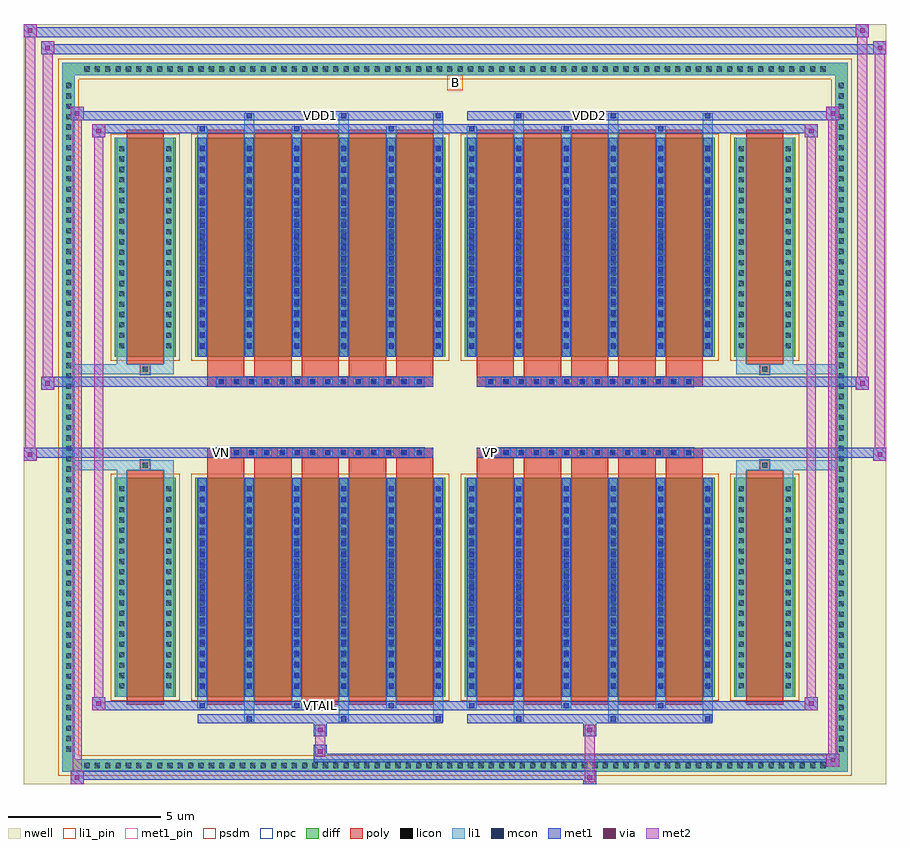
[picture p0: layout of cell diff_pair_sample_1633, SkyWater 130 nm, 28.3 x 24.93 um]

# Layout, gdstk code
import gdstk
lib = gdstk.Library(unit=1e-6, precision=5e-09)
def R(c, l, rs):  # rectangles x0, y0, x1, y1
    for r in rs: c.add(gdstk.rectangle(r[:2], r[2:], *l))
def A(c, l, x, y, w, h, nx, ny, dx, dy):  # array of equal rectangles
    R(c, l, [(x+i*dx, y+j*dy, x+i*dx+w, y+j*dy+h) for i in range(nx) for j in range(ny)])
def P(c, l, *ps):  # polygons
    for p in ps: c.add(gdstk.Polygon(p, *l))
nwell = (64, 20)
diff = (65, 20)
poly = (66, 20)
licon = (66, 44)
li1_pin = (67, 16)
li1 = (67, 20)
mcon = (67, 44)
met1_pin = (68, 16)
met1 = (68, 20)
via = (68, 44)
met2 = (69, 20)
psdm = (94, 20)
npc = (95, 20)

diff_pair_sample_1633 = lib.new_cell('diff_pair_sample_1633')
R(diff_pair_sample_1633, nwell, [(-14.15,-12.03,14.15,12.9), (-11.47,-10.22,-0.01,-0.8), (0.01,-10.22,11.47,-0.8), (-11.47,0.8,-0.01,10.22), (0.01,0.8,11.47,10.22)])
A(diff_pair_sample_1633, diff, -12.275, -11.63, 0.41, 0.41, 72, 2, 0.34, 22.85)
A(diff_pair_sample_1633, diff, -12.88, -11.085, 0.41, 0.41, 1, 65, 0, 0.34)
A(diff_pair_sample_1633, diff, 12.47, -11.085, 0.41, 0.41, 1, 65, 0, 0.34)
R(diff_pair_sample_1633, diff, [(-12.275,-11.63,12.275,-11.22), (-12.88,-11.085,-12.47,11.085), (12.47,-11.085,12.88,11.085), (-11.16,-9.175,-9.16,-1.985), (-8.52,-9.175,-0.32,-1.985), (0.32,-9.175,8.52,-1.985), (9.16,-9.175,11.16,-1.985), (-11.16,1.985,-9.16,9.175), (-8.52,1.985,-0.32,9.175), (0.32,1.985,8.52,9.175), (9.16,1.985,11.16,9.175), (-12.275,11.22,12.275,11.63)])
P(diff_pair_sample_1633, diff, [(12.88,11.63),(-12.88,11.63),(-12.88,-11.22),(-12.47,-11.22),(-12.47,11.22),(12.47,11.22),(12.47,-11.22),(-12.47,-11.22),(-12.88,-11.22),(-12.88,-11.63),(12.88,-11.63)])
A(diff_pair_sample_1633, poly, -8.13, -9.425, 1.22, 7.69, 5, 2, 1.55, 11.16)
A(diff_pair_sample_1633, poly, 0.71, -9.425, 1.22, 7.69, 5, 2, 1.55, 11.16)
A(diff_pair_sample_1633, poly, -8.13, -1.735, 1.22, 0.405, 5, 2, 1.55, 3.065)
A(diff_pair_sample_1633, poly, 0.71, -1.735, 1.22, 0.405, 5, 2, 1.55, 3.065)
A(diff_pair_sample_1633, poly, -7.835, -1.33, 0.33, 0.33, 14, 2, 0.5, 2.33)
A(diff_pair_sample_1633, poly, 1.005, -1.33, 0.33, 0.33, 14, 2, 0.5, 2.33)
R(diff_pair_sample_1633, poly, [(-10.77,-9.425,-9.55,-1.735), (9.55,-9.425,10.77,-1.735), (-10.325,-1.735,-9.995,-1.405), (-10.325,-1.735,-9.995,-1.405), (9.995,-1.735,10.325,-1.405), (9.995,-1.735,10.325,-1.405), (-8.13,-1.33,-0.71,-1), (0.71,-1.33,8.13,-1), (-8.13,1,-0.71,1.33), (0.71,1,8.13,1.33), (-10.325,1.405,-9.995,1.735), (-10.325,1.405,-9.995,1.735), (9.995,1.405,10.325,1.735), (9.995,1.405,10.325,1.735), (-10.77,1.735,-9.55,9.425), (9.55,1.735,10.77,9.425)])
A(diff_pair_sample_1633, licon, -12.155, -11.51, 0.17, 0.17, 72, 2, 0.34, 22.85)
A(diff_pair_sample_1633, licon, -12.76, -10.965, 0.17, 0.17, 1, 65, 0, 0.34)
A(diff_pair_sample_1633, licon, 12.59, -10.965, 0.17, 0.17, 1, 65, 0, 0.34)
A(diff_pair_sample_1633, licon, -11.02, -8.895, 0.17, 0.17, 1, 20, 0, 0.34)
A(diff_pair_sample_1633, licon, -9.47, -8.895, 0.17, 0.17, 1, 20, 0, 0.34)
A(diff_pair_sample_1633, licon, -8.38, -8.895, 0.17, 0.17, 6, 20, 1.55, 0.34)
A(diff_pair_sample_1633, licon, 0.46, -8.895, 0.17, 0.17, 6, 20, 1.55, 0.34)
A(diff_pair_sample_1633, licon, 9.3, -8.895, 0.17, 0.17, 1, 20, 0, 0.34)
A(diff_pair_sample_1633, licon, 10.85, -8.895, 0.17, 0.17, 1, 20, 0, 0.34)
A(diff_pair_sample_1633, licon, -7.755, -1.25, 0.17, 0.17, 14, 2, 0.5, 2.33)
A(diff_pair_sample_1633, licon, 1.085, -1.25, 0.17, 0.17, 14, 2, 0.5, 2.33)
A(diff_pair_sample_1633, licon, -11.02, 2.265, 0.17, 0.17, 1, 20, 0, 0.34)
A(diff_pair_sample_1633, licon, -9.47, 2.265, 0.17, 0.17, 1, 20, 0, 0.34)
A(diff_pair_sample_1633, licon, -8.38, 2.265, 0.17, 0.17, 6, 20, 1.55, 0.34)
A(diff_pair_sample_1633, licon, 0.46, 2.265, 0.17, 0.17, 6, 20, 1.55, 0.34)
A(diff_pair_sample_1633, licon, 9.3, 2.265, 0.17, 0.17, 1, 20, 0, 0.34)
A(diff_pair_sample_1633, licon, 10.85, 2.265, 0.17, 0.17, 1, 20, 0, 0.34)
R(diff_pair_sample_1633, licon, [(-10.245,-1.655,-10.075,-1.485), (10.075,-1.655,10.245,-1.485), (-10.245,1.485,-10.075,1.655), (10.075,1.485,10.245,1.655)])
R(diff_pair_sample_1633, li1_pin, [(-0.25,10.72,0.25,11.22)])
A(diff_pair_sample_1633, li1, -12.235, -11.59, 0.33, 0.33, 72, 2, 0.34, 22.85)
A(diff_pair_sample_1633, li1, -12.84, -11.045, 0.33, 0.33, 1, 65, 0, 0.34)
A(diff_pair_sample_1633, li1, 12.51, -11.045, 0.33, 0.33, 1, 65, 0, 0.34)
A(diff_pair_sample_1633, li1, -6.91, -9.98, 0.33, 0.805, 3, 2, 3.1, 19.155)
A(diff_pair_sample_1633, li1, -6.83, -9.98, 0.17, 0.17, 3, 2, 3.1, 19.79)
A(diff_pair_sample_1633, li1, 1.93, -9.98, 0.33, 0.805, 3, 2, 3.1, 19.155)
A(diff_pair_sample_1633, li1, 2.01, -9.98, 0.17, 0.17, 3, 2, 3.1, 19.79)
A(diff_pair_sample_1633, li1, -8.46, -9.55, 0.33, 0.375, 3, 2, 3.1, 18.725)
A(diff_pair_sample_1633, li1, -8.38, -9.55, 0.17, 0.17, 3, 2, 3.1, 18.93)
A(diff_pair_sample_1633, li1, 0.38, -9.55, 0.33, 0.375, 3, 2, 3.1, 18.725)
A(diff_pair_sample_1633, li1, 0.46, -9.55, 0.17, 0.17, 3, 2, 3.1, 18.93)
A(diff_pair_sample_1633, li1, -8.46, -9.175, 0.33, 7.19, 6, 2, 1.55, 11.16)
A(diff_pair_sample_1633, li1, 0.38, -9.175, 0.33, 7.19, 6, 2, 1.55, 11.16)
A(diff_pair_sample_1633, li1, -11.1, -8.975, 0.33, 0.33, 1, 20, 0, 0.34)
A(diff_pair_sample_1633, li1, -9.55, -8.975, 0.33, 0.33, 1, 20, 0, 0.34)
A(diff_pair_sample_1633, li1, -8.46, -8.975, 0.33, 0.33, 6, 20, 1.55, 0.34)
A(diff_pair_sample_1633, li1, 0.38, -8.975, 0.33, 0.33, 6, 20, 1.55, 0.34)
A(diff_pair_sample_1633, li1, 9.22, -8.975, 0.33, 0.33, 1, 20, 0, 0.34)
A(diff_pair_sample_1633, li1, 10.77, -8.975, 0.33, 0.33, 1, 20, 0, 0.34)
A(diff_pair_sample_1633, li1, -8.38, -8.905, 0.17, 0.17, 6, 19, 1.55, 0.36)
A(diff_pair_sample_1633, li1, -8.38, -8.905, 0.17, 6.65, 6, 2, 1.55, 11.16)
A(diff_pair_sample_1633, li1, 0.46, -8.905, 0.17, 0.17, 6, 19, 1.55, 0.36)
A(diff_pair_sample_1633, li1, 0.46, -8.905, 0.17, 6.65, 6, 2, 1.55, 11.16)
A(diff_pair_sample_1633, li1, -7.835, -1.33, 0.33, 0.33, 14, 2, 0.5, 2.33)
A(diff_pair_sample_1633, li1, 1.005, -1.33, 0.33, 0.33, 14, 2, 0.5, 2.33)
A(diff_pair_sample_1633, li1, -11.1, 2.185, 0.33, 0.33, 1, 20, 0, 0.34)
A(diff_pair_sample_1633, li1, -9.55, 2.185, 0.33, 0.33, 1, 20, 0, 0.34)
A(diff_pair_sample_1633, li1, -8.46, 2.185, 0.33, 0.33, 6, 20, 1.55, 0.34)
A(diff_pair_sample_1633, li1, 0.38, 2.185, 0.33, 0.33, 6, 20, 1.55, 0.34)
A(diff_pair_sample_1633, li1, 9.22, 2.185, 0.33, 0.33, 1, 20, 0, 0.34)
A(diff_pair_sample_1633, li1, 10.77, 2.185, 0.33, 0.33, 1, 20, 0, 0.34)
A(diff_pair_sample_1633, li1, -8.38, 2.255, 0.17, 0.17, 6, 19, 1.55, 0.36)
A(diff_pair_sample_1633, li1, 0.46, 2.255, 0.17, 0.17, 6, 19, 1.55, 0.36)
R(diff_pair_sample_1633, li1, [(-12.88,-11.63,-12.47,-11.22), (-12.88,-11.63,-12.47,-11.22), (-12.47,-11.63,12.47,-11.22), (12.47,-11.63,12.88,-11.22), (12.47,-11.63,12.88,-11.22), (-12.88,-11.22,-12.47,11.22), (12.47,-11.22,12.88,11.22), (-11.1,-9.175,-10.77,-1.985), (-9.55,-9.175,-9.22,-1.985), (9.22,-9.175,9.55,-1.985), (10.77,-9.175,11.1,-1.985), (-11.1,-1.985,-10.77,-1.405), (-9.55,-1.985,-9.22,-1.405), (9.22,-1.985,9.55,-1.405), (10.77,-1.985,11.1,-1.405), (-12.88,-1.735,-10.325,-1.405), (-11.1,-1.735,-10.325,-1.405), (-10.325,-1.735,-9.995,-1.405), (-9.995,-1.735,-9.22,-1.405), (9.22,-1.735,9.995,-1.405), (9.995,-1.735,10.325,-1.405), (9.995,-1.735,12.88,-1.405), (10.325,-1.735,11.1,-1.405), (-12.88,1.405,-10.325,1.735), (-11.1,1.405,-10.325,1.735), (-11.1,1.405,-10.77,1.985), (-10.325,1.405,-9.995,1.735), (-9.995,1.405,-9.22,1.735), (-9.55,1.405,-9.22,1.985), (9.22,1.405,9.995,1.735), (9.22,1.405,9.55,1.985), (9.995,1.405,10.325,1.735), (9.995,1.405,12.88,1.735), (10.325,1.405,11.1,1.735), (10.77,1.405,11.1,1.985), (-11.1,1.985,-10.77,9.175), (-9.55,1.985,-9.22,9.175), (9.22,1.985,9.55,9.175), (10.77,1.985,11.1,9.175), (-12.88,11.22,-12.47,11.63), (-12.88,11.22,-12.47,11.63), (-12.47,11.22,12.47,11.63), (12.47,11.22,12.88,11.63), (12.47,11.22,12.88,11.63)])
A(diff_pair_sample_1633, mcon, -6.83, -9.98, 0.17, 0.17, 3, 2, 3.1, 19.79)
A(diff_pair_sample_1633, mcon, 2.01, -9.98, 0.17, 0.17, 3, 2, 3.1, 19.79)
A(diff_pair_sample_1633, mcon, -8.38, -9.55, 0.17, 0.17, 3, 2, 3.1, 18.93)
A(diff_pair_sample_1633, mcon, 0.46, -9.55, 0.17, 0.17, 3, 2, 3.1, 18.93)
A(diff_pair_sample_1633, mcon, -8.38, -8.905, 0.17, 0.17, 6, 19, 1.55, 0.36)
A(diff_pair_sample_1633, mcon, 0.46, -8.905, 0.17, 0.17, 6, 19, 1.55, 0.36)
A(diff_pair_sample_1633, mcon, -7.755, -1.25, 0.17, 0.17, 14, 2, 0.5, 2.33)
A(diff_pair_sample_1633, mcon, 1.085, -1.25, 0.17, 0.17, 14, 2, 0.5, 2.33)
A(diff_pair_sample_1633, mcon, -8.38, 2.255, 0.17, 0.17, 6, 19, 1.55, 0.36)
A(diff_pair_sample_1633, mcon, 0.46, 2.255, 0.17, 0.17, 6, 19, 1.55, 0.36)
R(diff_pair_sample_1633, met1_pin, [(-4.555,-9.59,-4.285,-9.32), (-7.805,-1.29,-7.535,-1.02), (1.035,-1.29,1.305,-1.02), (-4.555,9.77,-4.285,10.04), (4.285,9.77,4.555,10.04)])
A(diff_pair_sample_1633, met1, -6.89, -10.04, 0.29, 0.29, 3, 2, 3.1, 19.79)
A(diff_pair_sample_1633, met1, 1.95, -10.04, 0.29, 0.29, 3, 2, 3.1, 19.79)
A(diff_pair_sample_1633, met1, -8.44, -9.61, 0.29, 0.29, 3, 2, 3.1, 18.93)
A(diff_pair_sample_1633, met1, 0.4, -9.61, 0.29, 0.29, 3, 2, 3.1, 18.93)
A(diff_pair_sample_1633, met1, -8.44, -9.175, 0.29, 7.19, 6, 2, 1.55, 11.16)
A(diff_pair_sample_1633, met1, 0.4, -9.175, 0.29, 7.19, 6, 2, 1.55, 11.16)
A(diff_pair_sample_1633, met1, -8.44, -8.965, 0.29, 0.29, 6, 19, 1.55, 0.36)
A(diff_pair_sample_1633, met1, 0.4, -8.965, 0.29, 0.29, 6, 19, 1.55, 0.36)
A(diff_pair_sample_1633, met1, -7.815, -1.31, 0.29, 0.29, 14, 2, 0.5, 2.33)
A(diff_pair_sample_1633, met1, 1.025, -1.31, 0.29, 0.29, 14, 2, 0.5, 2.33)
A(diff_pair_sample_1633, met1, -8.44, 2.195, 0.29, 0.29, 6, 19, 1.55, 0.36)
A(diff_pair_sample_1633, met1, 0.4, 2.195, 0.29, 0.29, 6, 19, 1.55, 0.36)
R(diff_pair_sample_1633, met1, [(-12.61,-12.03,-12.18,-11.6), (4.205,-12.03,4.635,-11.6), (-12.61,-11.89,4.635,-11.6), (12.18,-11.46,12.61,-11.03), (-4.635,-11.32,12.61,-11.03), (-4.635,-11.18,-4.205,-10.75), (-4.635,-10.47,-4.205,-10.04), (4.205,-10.47,4.635,-10.04), (-8.44,-10.04,-0.4,-9.75), (0.4,-10.04,8.44,-9.75), (-11.9,-9.61,-11.47,-9.18), (-11.9,-9.61,-8.44,-9.32), (-8.44,-9.61,-0.4,-9.32), (-0.4,-9.61,0.4,-9.32), (0.4,-9.61,8.44,-9.32), (8.44,-9.61,11.9,-9.32), (11.47,-9.61,11.9,-9.18), (-14.15,-1.43,-13.72,-1), (13.72,-1.43,14.15,-1), (-14.15,-1.33,-0.71,-1), (-8.13,-1.33,-0.71,-1), (0.71,-1.33,8.13,-1), (0.71,-1.33,14.15,-1), (-13.58,0.9,-13.15,1.33), (13.15,0.9,13.58,1.33), (-13.58,1,-8.13,1.33), (-8.13,1,-0.71,1.33), (0.71,1,8.13,1.33), (8.13,1,13.58,1.33), (-11.9,9.18,-11.47,9.61), (11.47,9.18,11.9,9.61), (-11.9,9.32,-8.44,9.61), (-8.44,9.32,-0.4,9.61), (-0.4,9.32,0.4,9.61), (0.4,9.32,8.44,9.61), (8.44,9.32,11.9,9.61), (-12.61,9.75,-12.18,10.18), (-12.61,9.75,-8.44,10.04), (-8.44,9.75,-0.4,10.04), (0.4,9.75,8.44,10.04), (8.44,9.75,12.61,10.04), (12.18,9.75,12.61,10.18), (-13.58,11.9,-13.15,12.33), (-13.58,11.9,-11.47,12.23), (-11.47,11.9,11.47,12.23), (11.47,11.9,14.15,12.23), (13.72,11.9,14.15,12.33), (-14.15,12.47,-13.72,12.9), (-14.15,12.47,-11.47,12.8), (-11.47,12.47,11.47,12.8), (11.47,12.47,13.58,12.8), (13.15,12.47,13.58,12.9)])
R(diff_pair_sample_1633, via, [(-12.47,-11.89,-12.32,-11.74), (4.345,-11.89,4.495,-11.74), (12.32,-11.32,12.47,-11.17), (-4.495,-11.04,-4.345,-10.89), (-4.495,-10.33,-4.345,-10.18), (4.345,-10.33,4.495,-10.18), (-11.76,-9.47,-11.61,-9.32), (11.61,-9.47,11.76,-9.32), (-14.01,-1.29,-13.86,-1.14), (13.86,-1.29,14.01,-1.14), (-13.44,1.04,-13.29,1.19), (13.29,1.04,13.44,1.19), (-11.76,9.32,-11.61,9.47), (11.61,9.32,11.76,9.47), (-12.47,9.89,-12.32,10.04), (12.32,9.89,12.47,10.04), (-13.44,12.04,-13.29,12.19), (13.86,12.04,14.01,12.19), (-14.01,12.61,-13.86,12.76), (13.29,12.61,13.44,12.76)])
R(diff_pair_sample_1633, met2, [(-12.61,-12.03,-12.18,-11.6), (-12.54,-12.03,-12.25,10.18), (-12.25,-12.03,-12.18,-11.6), (-12.56,-11.98,-12.23,-11.65), (4.255,-11.98,4.585,-11.65), (4.255,-11.65,4.585,-10.42), (12.18,-11.46,12.61,-11.03), (12.25,-11.46,12.54,10.18), (12.54,-11.46,12.61,-11.03), (12.23,-11.41,12.56,-11.08), (-4.585,-11.13,-4.255,-10.8), (-4.585,-10.8,-4.255,-10.42), (-4.585,-10.42,-4.255,-10.09), (4.255,-10.42,4.585,-10.09), (-11.9,-9.61,-11.47,-9.18), (-11.83,-9.61,-11.54,9.61), (-11.54,-9.61,-11.47,-9.18), (11.47,-9.61,11.9,-9.18), (11.54,-9.61,11.83,9.61), (11.83,-9.61,11.9,-9.18), (-11.85,-9.56,-11.52,-9.23), (11.52,-9.56,11.85,-9.23), (-14.15,-1.43,-13.72,-1), (-14.1,-1.43,-13.77,12.9), (-13.77,-1.43,-13.72,-1), (13.72,-1.43,14.15,-1), (13.77,-1.43,14.1,12.33), (14.1,-1.43,14.15,-1), (-14.1,-1.38,-13.77,-1.05), (13.77,-1.38,14.1,-1.05), (-13.58,0.9,-13.15,1.33), (-13.53,0.9,-13.2,12.33), (-13.2,0.9,-13.15,1.33), (13.15,0.9,13.58,1.33), (13.2,0.9,13.53,12.9), (13.53,0.9,13.58,1.33), (-13.53,0.95,-13.2,1.28), (13.2,0.95,13.53,1.28), (-11.9,9.18,-11.47,9.61), (-11.54,9.18,-11.47,9.61), (11.47,9.18,11.9,9.61), (11.83,9.18,11.9,9.61), (-11.85,9.23,-11.52,9.56), (11.52,9.23,11.85,9.56), (-12.61,9.75,-12.18,10.18), (-12.25,9.75,-12.18,10.18), (12.18,9.75,12.61,10.18), (12.54,9.75,12.61,10.18), (-12.56,9.8,-12.23,10.13), (12.23,9.8,12.56,10.13), (-13.58,11.9,-13.15,12.33), (-13.2,11.9,-13.15,12.33), (13.72,11.9,14.15,12.33), (14.1,11.9,14.15,12.33), (-13.53,11.95,-13.2,12.28), (13.77,11.95,14.1,12.28), (-14.15,12.47,-13.72,12.9), (-13.77,12.47,-13.72,12.9), (13.15,12.47,13.58,12.9), (13.53,12.47,13.58,12.9), (-14.1,12.52,-13.77,12.85), (13.2,12.52,13.53,12.85)])
R(diff_pair_sample_1633, psdm, [(-11.29,-9.305,-9.03,-1.855), (-8.65,-9.305,-0.19,-1.855), (0.19,-9.305,8.65,-1.855), (9.03,-9.305,11.29,-1.855), (-11.29,1.855,-9.03,9.305), (-8.65,1.855,-0.19,9.305), (0.19,1.855,8.65,9.305), (9.03,1.855,11.29,9.305)])
P(diff_pair_sample_1633, psdm, [(13.01,11.76),(-13.01,11.76),(-13.01,-11.09),(-12.34,-11.09),(-12.34,11.09),(12.34,11.09),(12.34,-11.09),(-12.34,-11.09),(-13.01,-11.09),(-13.01,-11.76),(13.01,-11.76)])
A(diff_pair_sample_1633, npc, -7.855, -1.35, 0.37, 0.37, 14, 2, 0.5, 2.33)
A(diff_pair_sample_1633, npc, 0.985, -1.35, 0.37, 0.37, 14, 2, 0.5, 2.33)
R(diff_pair_sample_1633, npc, [(-10.345,-1.755,-9.975,-1.385), (9.975,-1.755,10.345,-1.385), (-7.855,-1.35,-6.985,-0.98), (-7.855,-1.35,-6.985,-0.98), (-7.355,-1.35,-6.485,-0.98), (-7.355,-1.35,-6.485,-0.98), (-6.855,-1.35,-5.985,-0.98), (-6.855,-1.35,-5.985,-0.98), (-6.355,-1.35,-5.485,-0.98), (-6.355,-1.35,-5.485,-0.98), (-5.855,-1.35,-4.985,-0.98), (-5.855,-1.35,-4.985,-0.98), (-5.355,-1.35,-4.485,-0.98), (-5.355,-1.35,-4.485,-0.98), (-4.855,-1.35,-3.985,-0.98), (-4.855,-1.35,-3.985,-0.98), (-4.355,-1.35,-3.485,-0.98), (-4.355,-1.35,-3.485,-0.98), (-3.855,-1.35,-2.985,-0.98), (-3.855,-1.35,-2.985,-0.98), (-3.355,-1.35,-2.485,-0.98), (-3.355,-1.35,-2.485,-0.98), (-2.855,-1.35,-1.985,-0.98), (-2.855,-1.35,-1.985,-0.98), (-2.355,-1.35,-1.485,-0.98), (-2.355,-1.35,-1.485,-0.98), (-1.855,-1.35,-0.985,-0.98), (-1.855,-1.35,-0.985,-0.98), (0.985,-1.35,1.855,-0.98), (0.985,-1.35,1.855,-0.98), (1.485,-1.35,2.355,-0.98), (1.485,-1.35,2.355,-0.98), (1.985,-1.35,2.855,-0.98), (1.985,-1.35,2.855,-0.98), (2.485,-1.35,3.355,-0.98), (2.485,-1.35,3.355,-0.98), (2.985,-1.35,3.855,-0.98), (2.985,-1.35,3.855,-0.98), (3.485,-1.35,4.355,-0.98), (3.485,-1.35,4.355,-0.98), (3.985,-1.35,4.855,-0.98), (3.985,-1.35,4.855,-0.98), (4.485,-1.35,5.355,-0.98), (4.485,-1.35,5.355,-0.98), (4.985,-1.35,5.855,-0.98), (4.985,-1.35,5.855,-0.98), (5.485,-1.35,6.355,-0.98), (5.485,-1.35,6.355,-0.98), (5.985,-1.35,6.855,-0.98), (5.985,-1.35,6.855,-0.98), (6.485,-1.35,7.355,-0.98), (6.485,-1.35,7.355,-0.98), (6.985,-1.35,7.855,-0.98), (6.985,-1.35,7.855,-0.98), (-7.855,0.98,-6.985,1.35), (-7.855,0.98,-6.985,1.35), (-7.355,0.98,-6.485,1.35), (-7.355,0.98,-6.485,1.35), (-6.855,0.98,-5.985,1.35), (-6.855,0.98,-5.985,1.35), (-6.355,0.98,-5.485,1.35), (-6.355,0.98,-5.485,1.35), (-5.855,0.98,-4.985,1.35), (-5.855,0.98,-4.985,1.35), (-5.355,0.98,-4.485,1.35), (-5.355,0.98,-4.485,1.35), (-4.855,0.98,-3.985,1.35), (-4.855,0.98,-3.985,1.35), (-4.355,0.98,-3.485,1.35), (-4.355,0.98,-3.485,1.35), (-3.855,0.98,-2.985,1.35), (-3.855,0.98,-2.985,1.35), (-3.355,0.98,-2.485,1.35), (-3.355,0.98,-2.485,1.35), (-2.855,0.98,-1.985,1.35), (-2.855,0.98,-1.985,1.35), (-2.355,0.98,-1.485,1.35), (-2.355,0.98,-1.485,1.35), (-1.855,0.98,-0.985,1.35), (-1.855,0.98,-0.985,1.35), (0.985,0.98,1.855,1.35), (0.985,0.98,1.855,1.35), (1.485,0.98,2.355,1.35), (1.485,0.98,2.355,1.35), (1.985,0.98,2.855,1.35), (1.985,0.98,2.855,1.35), (2.485,0.98,3.355,1.35), (2.485,0.98,3.355,1.35), (2.985,0.98,3.855,1.35), (2.985,0.98,3.855,1.35), (3.485,0.98,4.355,1.35), (3.485,0.98,4.355,1.35), (3.985,0.98,4.855,1.35), (3.985,0.98,4.855,1.35), (4.485,0.98,5.355,1.35), (4.485,0.98,5.355,1.35), (4.985,0.98,5.855,1.35), (4.985,0.98,5.855,1.35), (5.485,0.98,6.355,1.35), (5.485,0.98,6.355,1.35), (5.985,0.98,6.855,1.35), (5.985,0.98,6.855,1.35), (6.485,0.98,7.355,1.35), (6.485,0.98,7.355,1.35), (6.985,0.98,7.855,1.35), (6.985,0.98,7.855,1.35), (-10.345,1.385,-9.975,1.755), (9.975,1.385,10.345,1.755)])
diff_pair_sample_1633.add(gdstk.Label('VTAIL', (-4.42,-9.455), layer=68, texttype=5))
diff_pair_sample_1633.add(gdstk.Label('VN', (-7.67,-1.155), layer=68, texttype=5))
diff_pair_sample_1633.add(gdstk.Label('VP', (1.17,-1.155), layer=68, texttype=5))
diff_pair_sample_1633.add(gdstk.Label('B', (0,10.97), layer=67, texttype=5))
diff_pair_sample_1633.add(gdstk.Label('VDD2', (4.42,9.905), layer=68, texttype=5))
diff_pair_sample_1633.add(gdstk.Label('VDD1', (-4.42,9.905), layer=68, texttype=5))

lib.write_gds('diff_pair_sample_1633.gds')
